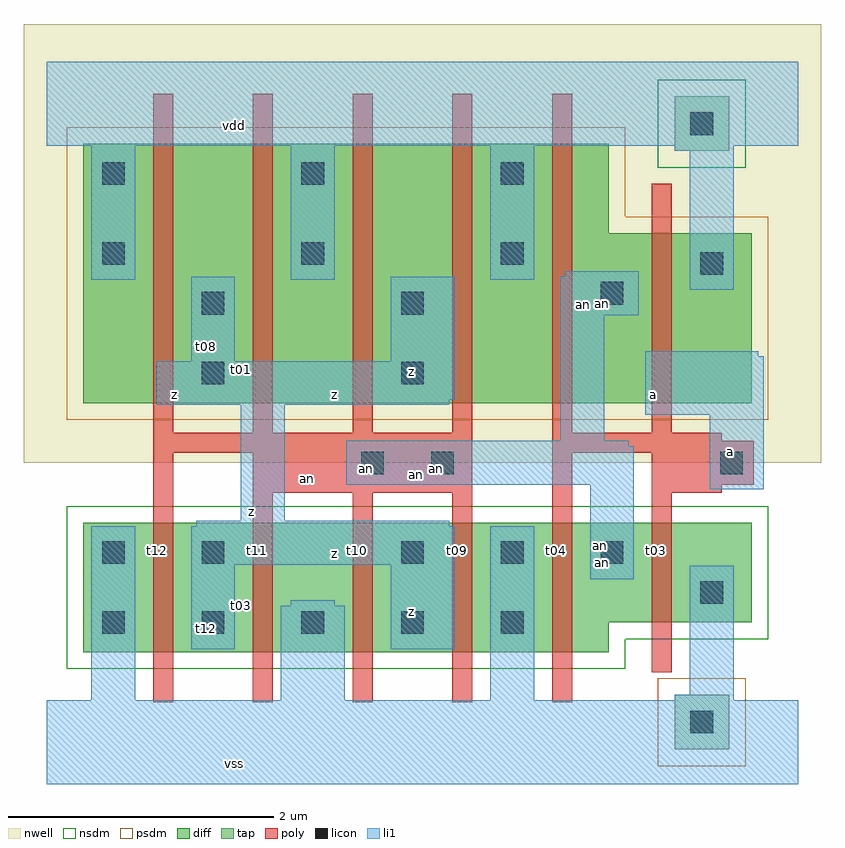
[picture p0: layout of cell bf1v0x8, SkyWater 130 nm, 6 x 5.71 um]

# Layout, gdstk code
import gdstk
lib = gdstk.Library(unit=1e-6, precision=5e-09)
def R(c, l, rs):  # rectangles x0, y0, x1, y1
    for r in rs: c.add(gdstk.rectangle(r[:2], r[2:], *l))
def A(c, l, x, y, w, h, nx, ny, dx, dy):  # array of equal rectangles
    R(c, l, [(x+i*dx, y+j*dy, x+i*dx+w, y+j*dy+h) for i in range(nx) for j in range(ny)])
nwell = (64, 20)
diff = (65, 20)
tap = (65, 44)
poly = (66, 20)
licon = (66, 44)
li1 = (67, 20)
nsdm = (93, 44)
psdm = (94, 20)

bf1v0x8 = lib.new_cell('bf1v0x8')
R(bf1v0x8, nwell, [(-0.3,2.4,5.7,5.7)])
R(bf1v0x8, diff, [(0.15,0.975,4.1,1.95), (0.15,1.2,5.175,1.95), (0.15,2.85,4.1,4.8), (0.15,2.85,5.175,4.125)])
R(bf1v0x8, tap, [(4.595,0.245,5.005,0.655), (4.595,4.745,5.005,5.155)])
A(bf1v0x8, poly, 0.675, 0.6, 0.15, 4.575, 5, 1, 0.75, 0)
R(bf1v0x8, poly, [(4.425,0.825,4.575,4.5), (1.425,2.175,3.075,2.625), (4.425,2.175,4.95,2.625), (4.425,2.235,5.19,2.565), (0.675,2.475,3.075,2.625), (3.675,2.475,4.95,2.625)])
A(bf1v0x8, licon, 0.29, 1.115, 0.17, 0.17, 5, 1, 0.75, 0)
A(bf1v0x8, licon, 2.54, 1.64, 0.17, 0.17, 3, 1, 0.75, 0)
A(bf1v0x8, licon, 0.29, 3.89, 0.17, 0.17, 3, 2, 1.5, 0.6)
R(bf1v0x8, licon, [(4.715,0.365,4.885,0.535), (4.79,1.34,4.96,1.51), (0.29,1.64,0.46,1.81), (1.04,1.64,1.21,1.81), (2.24,2.315,2.41,2.485), (2.765,2.315,2.935,2.485), (4.94,2.315,5.11,2.485), (1.04,2.99,1.21,3.16), (2.54,2.99,2.71,3.16), (1.04,3.515,1.21,3.685), (2.54,3.515,2.71,3.685), (4.04,3.59,4.21,3.76), (4.79,3.815,4.96,3.985), (4.715,4.865,4.885,5.035)])
A(bf1v0x8, li1, 0.21, 3.775, 0.33, 1.64, 3, 1, 1.5, 0)
R(bf1v0x8, li1, [(-0.125,-0.015,5.525,0.615), (-0.125,-0.015,5.525,0.615), (0.21,-0.015,0.54,1.925), (1.635,-0.015,2.115,1.325), (1.71,-0.015,2.04,1.365), (3.21,-0.015,3.54,1.925), (4.595,-0.015,5.04,0.655), (4.71,-0.015,5.04,1.625), (0.96,1,1.29,1.925), (1,1,1.29,1.965), (2.46,1,2.9,1.965), (2.46,1,2.94,1.925), (2.535,1.075,2.865,1.925), (3.96,1.525,4.25,2.565), (3.96,1.525,4.29,2.525), (0.96,1.635,2.94,1.925), (1,1.635,2.9,1.965), (1.335,1.635,1.665,3.165), (1.975,1.635,2.225,1.965), (1.335,1.675,1.665,3.125), (4.86,2.2,5.225,3.24), (4.86,2.2,5.265,3.2), (2.125,2.235,4.29,2.525), (2.125,2.235,4.25,2.565), (3.735,2.235,4.065,3.8), (3.775,2.235,4.065,3.84), (4.935,2.275,5.265,3.125), (4.375,2.76,5.265,3.2), (4.375,2.76,5.225,3.24), (0.7,2.835,2.9,3.165), (0.775,2.835,1.025,3.165), (0.96,2.835,1.29,3.8), (1.975,2.835,2.225,3.165), (2.46,2.835,2.9,3.8), (4.375,2.835,4.625,3.165), (0.7,2.875,2.94,3.165), (2.46,2.875,2.94,3.8), (2.535,2.875,2.865,3.725), (3.735,3.51,4.325,3.8), (3.775,3.51,4.325,3.84), (4.71,3.7,5.04,5.415), (4.595,4.745,5.04,5.415), (-0.125,4.785,5.525,5.415), (-0.125,4.785,5.525,5.415)])
A(bf1v0x8, nsdm, 0.23, 1.055, 0.29, 0.29, 5, 1, 0.75, 0)
A(bf1v0x8, nsdm, 2.48, 1.58, 0.29, 0.29, 3, 1, 0.75, 0)
R(bf1v0x8, nsdm, [(0.025,0.85,4.225,2.075), (0.15,0.975,0.6,1.95), (0.15,0.975,0.6,1.95), (0.9,0.975,1.2,1.95), (0.9,0.975,1.2,1.95), (1.725,0.975,2.025,1.95), (1.725,0.975,2.025,1.95), (2.475,0.975,2.775,1.95), (2.475,0.975,2.775,1.95), (3.075,0.975,3.525,1.95), (3.075,0.975,3.525,1.95), (0.025,1.075,5.3,2.075), (3.975,1.2,4.275,1.95), (3.975,1.2,4.275,1.95), (4.725,1.2,5.175,1.95), (4.725,1.2,5.175,1.95), (4.73,1.28,5.02,1.57), (0.23,1.58,0.52,1.87), (0.98,1.58,1.27,1.87), (4.47,4.62,5.13,5.28)])
A(bf1v0x8, psdm, 0.23, 3.83, 0.29, 0.29, 3, 2, 1.5, 0.6)
R(bf1v0x8, psdm, [(4.47,0.12,5.13,0.78), (0.025,2.725,5.3,4.25), (0.025,2.725,4.225,4.925), (0.15,2.85,0.6,4.8), (0.15,2.85,0.6,4.8), (0.975,2.85,1.275,4.8), (0.975,2.85,1.275,4.8), (1.725,2.85,2.025,4.8), (1.725,2.85,2.025,4.8), (2.475,2.85,2.775,4.8), (2.475,2.85,2.775,4.8), (3.225,2.85,3.525,4.8), (3.225,2.85,3.525,4.8), (3.975,2.85,4.275,4.125), (3.975,2.85,4.275,4.125), (4.725,2.85,5.175,4.125), (4.725,2.85,5.175,4.125), (0.98,2.93,1.27,3.22), (2.48,2.93,2.77,3.22), (0.98,3.455,1.27,3.745), (2.48,3.455,2.77,3.745), (3.98,3.53,4.27,3.82), (4.73,3.755,5.02,4.045)])
bf1v0x8.add(gdstk.Label('t03', (1.34,1.325), layer=93, texttype=44))
bf1v0x8.add(gdstk.Label('t12', (1.075,1.155), layer=93, texttype=44))
bf1v0x8.add(gdstk.Label('t01', (1.34,3.105), layer=94, texttype=20))
bf1v0x8.add(gdstk.Label('t08', (1.075,3.275), layer=94, texttype=20))
bf1v0x8.add(gdstk.Label('t03', (1.405,1.385), layer=65, texttype=20))
bf1v0x8.add(gdstk.Label('t12', (1.135,1.215), layer=65, texttype=20))
bf1v0x8.add(gdstk.Label('t08', (1.135,3.335), layer=65, texttype=20))
bf1v0x8.add(gdstk.Label('t01', (1.405,3.165), layer=65, texttype=20))
bf1v0x8.add(gdstk.Label('an', (4.05,1.65), layer=93, texttype=44))
bf1v0x8.add(gdstk.Label('an', (4.05,3.6), layer=94, texttype=20))
bf1v0x8.add(gdstk.Label('t12', (0.71,1.74), layer=66, texttype=20))
bf1v0x8.add(gdstk.Label('t11', (1.46,1.74), layer=66, texttype=20))
bf1v0x8.add(gdstk.Label('t10', (2.21,1.74), layer=66, texttype=20))
bf1v0x8.add(gdstk.Label('an', (1.835,2.285), layer=66, texttype=20))
bf1v0x8.add(gdstk.Label('t09', (2.96,1.74), layer=66, texttype=20))
bf1v0x8.add(gdstk.Label('t04', (3.71,1.74), layer=66, texttype=20))
bf1v0x8.add(gdstk.Label('t03', (4.46,1.74), layer=66, texttype=20))
bf1v0x8.add(gdstk.Label('an', (4.08,3.63), layer=66, texttype=44))
bf1v0x8.add(gdstk.Label('an', (4.08,1.68), layer=66, texttype=44))
bf1v0x8.add(gdstk.Label('an', (2.805,2.355), layer=66, texttype=44))
bf1v0x8.add(gdstk.Label('an', (2.28,2.355), layer=66, texttype=44))
bf1v0x8.add(gdstk.Label('z', (1.415,2.035), layer=67, texttype=20))
bf1v0x8.add(gdstk.Label('z', (0.835,2.915), layer=67, texttype=20))
bf1v0x8.add(gdstk.Label('z', (2.615,1.285), layer=67, texttype=20))
bf1v0x8.add(gdstk.Label('z', (2.035,1.715), layer=67, texttype=20))
bf1v0x8.add(gdstk.Label('z', (2.035,2.915), layer=67, texttype=20))
bf1v0x8.add(gdstk.Label('z', (2.615,3.085), layer=67, texttype=20))
bf1v0x8.add(gdstk.Label('an', (4.04,1.775), layer=67, texttype=20))
bf1v0x8.add(gdstk.Label('an', (2.655,2.315), layer=67, texttype=20))
bf1v0x8.add(gdstk.Label('an', (3.91,3.59), layer=67, texttype=20))
bf1v0x8.add(gdstk.Label('vss', (1.285,0.14), layer=67, texttype=20))
bf1v0x8.add(gdstk.Label('a', (4.435,2.915), layer=67, texttype=20))
bf1v0x8.add(gdstk.Label('a', (5.015,2.485), layer=67, texttype=20))
bf1v0x8.add(gdstk.Label('vdd', (1.285,4.94), layer=67, texttype=20))

lib.write_gds('bf1v0x8.gds')
